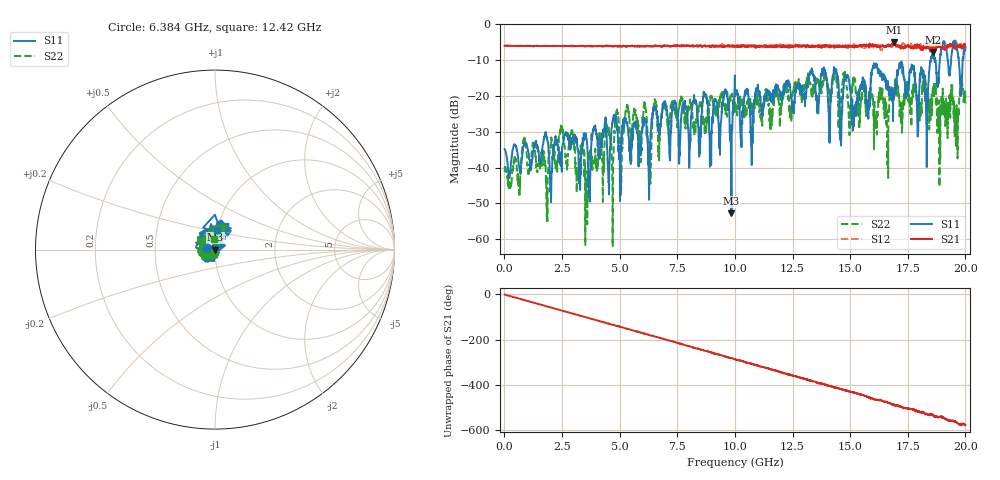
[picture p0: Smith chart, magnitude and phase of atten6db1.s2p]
! S Parameters saved at 11:40:37 06/22/07
# HZ DB S R 50
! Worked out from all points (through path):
!   1886 points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, 10.6 MHz to 20 GHz, reference 50 ohm
!   highest |S21| = -4.97 dB at 16.91 GHz (marker M1); lowest = -7.7 dB at 18.59 GHz (marker M2)
!   group delay of S21, straight-line fit = 79.9 ps
!   lowest |S11| = -52.8 dB at 9.852 GHz (marker M3), VSWR 1.00, Z = 50.2 + j0.0415 ohm
!   |S11| at or under -10 dB: start of sweep to 18.5 GHz; 18.71 GHz to 18.89 GHz (186.3 MHz wide, 0.991 % of centre); 19.71 GHz to 19.88 GHz (165.3 MHz wide, 0.835 % of centre)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
!   |S22| runs from -62.0 to -13.2 dB; largest |S21 - S12| = 0.2
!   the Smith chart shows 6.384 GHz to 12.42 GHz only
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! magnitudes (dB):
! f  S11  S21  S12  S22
! 10.6 MHz  -34.9  -6.0  -5.9  -41.2
! 3.351 GHz  -36.0  -6.0  -6.0  -33.7
! 3.552 GHz  -32.1  -6.1  -6.0  -44.4
! 4.889 GHz  -29.0  -6.0  -6.0  -23.8
! 5.09 GHz  -30.0  -6.2  -6.1  -37.0
! 6.087 GHz  -27.0  -6.1  -6.1  -23.5
! 6.299 GHz  -41.5  -6.0  -6.0  -44.6
! 6.511 GHz  -22.8  -5.9  -5.9  -21.0
! 6.681 GHz  -29.8  -6.0  -6.0  -36.9
! 8.717 GHz  -20.2  -6.0  -5.9  -27.1
! 8.95 GHz  -39.4  -6.1  -6.4  -20.7
! 9.586 GHz  -18.1  -6.0  -5.8  -22.8
! 9.852 GHz  -52.8  -6.2  -5.7  -19.7
! 10.01 GHz  -20.1  -6.0  -6.1  -21.9
! 10.72 GHz  -34.4  -6.2  -6.1  -25.1
! 13.34 GHz  -12.2  -6.1  -5.7  -19.2
! 14.6 GHz  -33.9  -6.1  -6.1  -23.2
! 16.67 GHz  -17.3  -5.8  -5.7  -23.7
! 16.91 GHz  -19.0  -5.0  -5.4  -18.8
! 18.32 GHz  -39.9  -6.3  -5.8  -19.4
! 18.59 GHz  -7.9  -7.7  -6.7  -17.1
! 20 GHz  -6.4  -6.2  -4.8  -22.1
